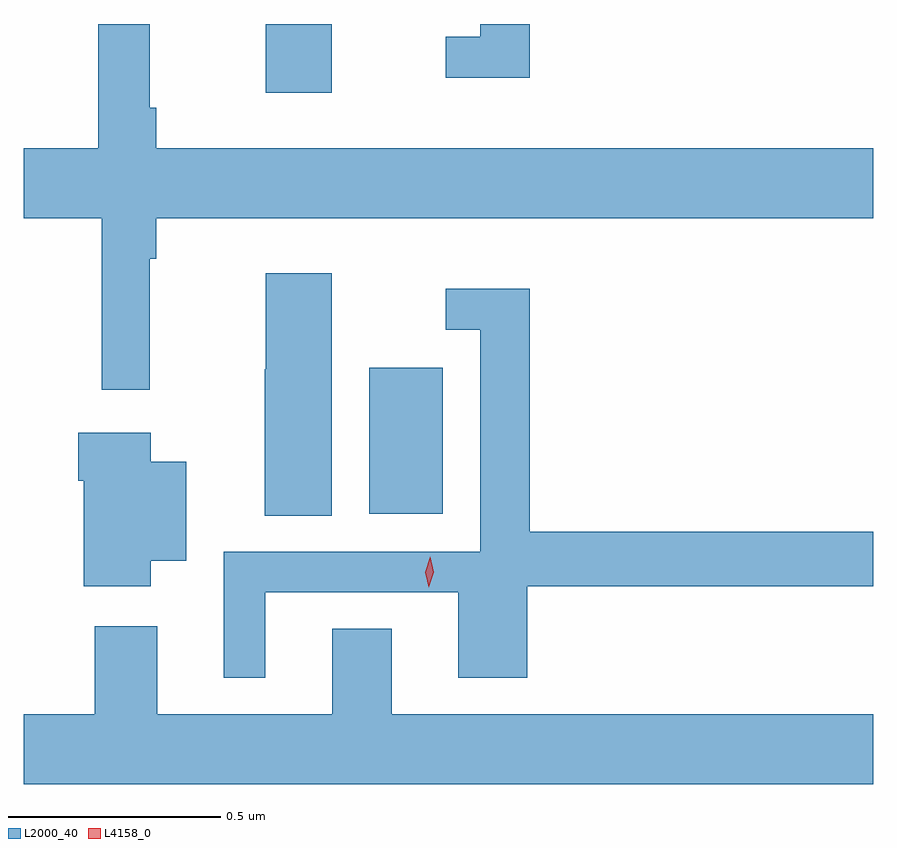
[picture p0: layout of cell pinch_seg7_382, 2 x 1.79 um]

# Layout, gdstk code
import gdstk
lib = gdstk.Library(unit=1e-6, precision=1e-09)
def R(c, l, rs):  # rectangles x0, y0, x1, y1
    for r in rs: c.add(gdstk.rectangle(r[:2], r[2:], *l))
def P(c, l, *ps):  # polygons
    for p in ps: c.add(gdstk.Polygon(p, *l))
L2000_40 = (2000, 40)
L4158_0 = (4158, 0)

pinch_seg7_382 = lib.new_cell('pinch_seg7_382')
R(pinch_seg7_382, L2000_40, [(492.134,1030.556,492.307,1030.9), (491.891,1031.547,492.046,1031.709)])
P(pinch_seg7_382, L2000_40, [(492.512,1031.709),(492.396,1031.709),(492.396,1031.679),(492.315,1031.679),(492.315,1031.582),(492.512,1031.582)],
  [(491.618,1031.512),(491.618,1031.709),(491.497,1031.709),(491.497,1031.416),(491.321,1031.416),(491.321,1031.252),(491.505,1031.252),(491.505,1030.848),(491.618,1030.848),(491.618,1031.156),(491.633,1031.156),(491.633,1031.252),(493.321,1031.252),(493.321,1031.416),(491.633,1031.416),(491.633,1031.512)],
  [(492.046,1031.122),(491.891,1031.122),(491.891,1030.896),(491.888,1030.896),(491.888,1030.552),(492.046,1030.552)],
  [(491.89,1030.371),(492.344,1030.371),(492.344,1030.17),(492.506,1030.17),(492.506,1030.386),(493.321,1030.386),(493.321,1030.514),(492.512,1030.514),(492.512,1031.086),(492.315,1031.086),(492.315,1030.989),(492.396,1030.989),(492.396,1030.467),(491.792,1030.467),(491.792,1030.17),(491.89,1030.17)],
  [(491.62,1030.445),(491.704,1030.445),(491.704,1030.678),(491.62,1030.678),(491.62,1030.747),(491.45,1030.747),(491.45,1030.634),(491.462,1030.634),(491.462,1030.386),(491.62,1030.386)],
  [(493.321,1030.084),(492.187,1030.084),(492.187,1030.286),(492.047,1030.286),(492.047,1030.084),(491.635,1030.084),(491.635,1030.291),(491.488,1030.291),(491.488,1030.084),(491.321,1030.084),(491.321,1029.92),(493.321,1029.92)])
P(pinch_seg7_382, L4158_0, [(492.274,1030.383),(492.266,1030.419),(492.278,1030.455),(492.278,1030.455),(492.278,1030.455),(492.286,1030.419),(492.275,1030.383),(492.275,1030.383)])

lib.write_gds('pinch_seg7_382.gds')
